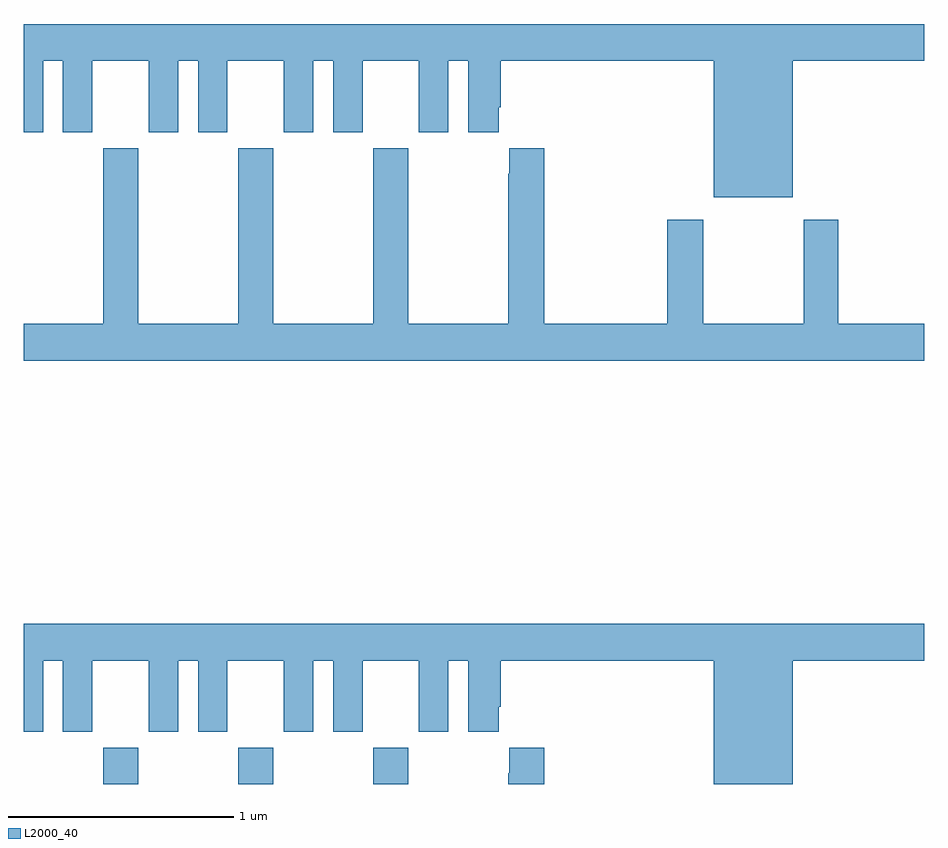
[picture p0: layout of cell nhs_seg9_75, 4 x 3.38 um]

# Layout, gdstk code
import gdstk
lib = gdstk.Library(unit=1e-6, precision=1e-09)
def R(c, l, rs):  # rectangles x0, y0, x1, y1
    for r in rs: c.add(gdstk.rectangle(r[:2], r[2:], *l))
def A(c, l, x, y, w, h, nx, ny, dx, dy):  # array of equal rectangles
    R(c, l, [(x+i*dx, y+j*dy, x+i*dx+w, y+j*dy+h) for i in range(nx) for j in range(ny)])
def P(c, l, *ps):  # polygons
    for p in ps: c.add(gdstk.Polygon(p, *l))
L2000_40 = (2000, 40)

nhs_seg9_75 = lib.new_cell('nhs_seg9_75')
A(nhs_seg9_75, L2000_40, 113.353, 1234.5, 0.155, 0.16, 3, 1, 0.6, 0)
P(nhs_seg9_75, L2000_40, [(116.416,1237.712),(117,1237.712),(117,1237.876),(113,1237.876),(113,1237.395),(113.086,1237.395),(113.086,1237.712),(113.174,1237.712),(113.174,1237.395),(113.305,1237.395),(113.305,1237.712),(113.555,1237.712),(113.555,1237.395),(113.686,1237.395),(113.686,1237.712),(113.774,1237.712),(113.774,1237.395),(113.905,1237.395),(113.905,1237.712),(114.155,1237.712),(114.155,1237.395),(114.286,1237.395),(114.286,1237.712),(114.374,1237.712),(114.374,1237.395),(114.505,1237.395),(114.505,1237.712),(114.755,1237.712),(114.755,1237.395),(114.886,1237.395),(114.886,1237.712),(114.974,1237.712),(114.974,1237.395),(115.111,1237.395),(115.111,1237.507),(115.118,1237.507),(115.118,1237.712),(116.066,1237.712),(116.066,1237.106),(116.416,1237.106)],
  [(117,1236.544),(116.619,1236.544),(116.619,1237.006),(116.464,1237.006),(116.464,1236.544),(116.019,1236.544),(116.019,1237.006),(115.859,1237.006),(115.859,1236.544),(115.313,1236.544),(115.313,1237.324),(115.157,1237.324),(115.157,1237.211),(115.153,1237.211),(115.153,1236.544),(114.708,1236.544),(114.708,1237.324),(114.553,1237.324),(114.553,1236.544),(114.108,1236.544),(114.108,1237.324),(113.953,1237.324),(113.953,1236.544),(113.508,1236.544),(113.508,1237.324),(113.353,1237.324),(113.353,1236.544),(113,1236.544),(113,1236.38),(117,1236.38)],
  [(116.416,1235.048),(117,1235.048),(117,1235.212),(113,1235.212),(113,1234.731),(113.086,1234.731),(113.086,1235.048),(113.174,1235.048),(113.174,1234.731),(113.305,1234.731),(113.305,1235.048),(113.555,1235.048),(113.555,1234.731),(113.686,1234.731),(113.686,1235.048),(113.774,1235.048),(113.774,1234.731),(113.905,1234.731),(113.905,1235.048),(114.155,1235.048),(114.155,1234.731),(114.286,1234.731),(114.286,1235.048),(114.374,1235.048),(114.374,1234.731),(114.505,1234.731),(114.505,1235.048),(114.755,1235.048),(114.755,1234.731),(114.886,1234.731),(114.886,1235.048),(114.974,1235.048),(114.974,1234.731),(115.111,1234.731),(115.111,1234.843),(115.118,1234.843),(115.118,1235.048),(116.066,1235.048),(116.066,1234.5),(116.416,1234.5)],
  [(115.313,1234.66),(115.157,1234.66),(115.157,1234.547),(115.153,1234.547),(115.153,1234.5),(115.313,1234.5)])

lib.write_gds('nhs_seg9_75.gds')
